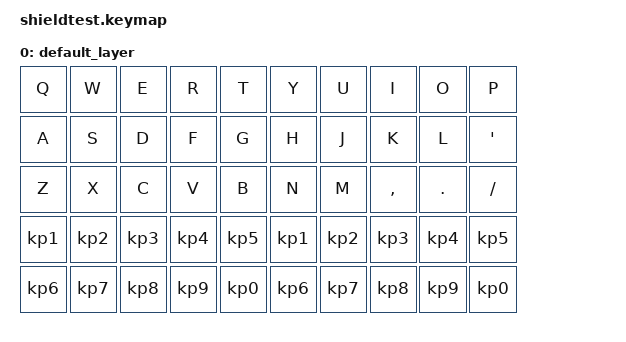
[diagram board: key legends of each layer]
/*
 * Copyright (c) 2020 The ZMK Contributors
 *
 * SPDX-License-Identifier: MIT
 */

#include <behaviors.dtsi>
#include <dt-bindings/zmk/keys.h>
#include <dt-bindings/zmk/bt.h>


/ { 

        keymap {
                compatible = "zmk,keymap";
                
       		default_layer {
		bindings = <
		&kp Q &kp W &kp E &kp R &kp T 						&kp Y &kp U  &kp I    &kp O   &kp P 
		&kp A &kp S &kp D &kp F &kp G 			      &kp H &kp J &kp K &kp L &kp QUOT
		&kp Z &kp X &kp C &kp V &kp B				      &kp N &kp M  &kp CMMA &kp DOT &kp SLASH
    &kp KP_N1 &kp KP_N2 &kp KP_N3 &kp KP_N4 &kp KP_N5      &kp KP_N1 &kp KP_N2 &kp KP_N3 &kp KP_N4 &kp KP_N5
    &kp KP_N6 &kp KP_N7 &kp KP_N8 &kp KP_N9 &kp KP_N0      &kp KP_N6 &kp KP_N7 &kp KP_N8 &kp KP_N9 &kp KP_N0
		>;
		};

       
	};
};
